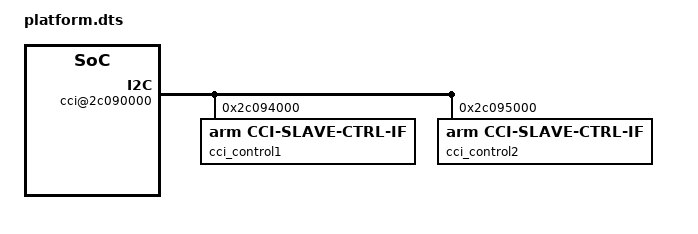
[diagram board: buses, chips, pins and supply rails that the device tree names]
/*
 * SPDX-License-Identifier: Apache-2.0
 * Copyright (c) 2019 KapaXL (kapa.xl@outlook.com)
 */

/dts-v1/;

#include "memory.dtsi"

#define GIC_SPI(x) ((x) + 32)
#define GIC_PPI(x) ((x))

/ {
	#address-cells = <2>;
	#size-cells = <2>;

	cpu {
		compatible = "arm,cpu";
		/* mpid of each CPU */
		cpus = <0 0x100 0x200 0x300 0x400 0x500 0x600 0x700>;
	};

	platform {
		#address-cells = <2>;
		#size-cells = <1>;

		/*
		 * pinctrls cells information
		 * 0: reg offset,
		 * 1: first bit position,
		 * 2: number of bits,
		 * 3: value
		 */
		pinctrl@0 {
			/* unnecessary for FVP */
			compatible = "module,pinctrl";
			reg = <0 0 0>;
			pinctrls = <0 0 0>;
		};

		cpu-power@1 {
			compatible = "module,cpu-power";
			/* base power controller */
			reg = <0 0x1c100000 0x1000>;
		};
	};

	uart {
		compatible = "module,uart";
		#address-cells = <2>;
		#size-cells = <1>;

		pl011@1c0a0000 {
			compatible = "arm,pl011";
			reg = <0 0x1c0a0000 0x1000>;
			interrupts = <GIC_SPI(6)>;
			interrupt-parent = <&gic>;
			clock-frequency = <24000000>;
			current-speed = <115200>;
			clock-divisor = <16>;
		};

		pl011@1c0b0000 {
			compatible = "arm,pl011";
			reg = <0 0x1c0b0000 0x1000>;
			interrupts = <GIC_SPI(7)>;
			interrupt-parent = <&gic>;
			clock-frequency = <24000000>;
			current-speed = <115200>;
			clock-divisor = <16>;
		};
	};

	/* interrupt-controller: CPU side */
	gic: interrupt-controller@2f000000 {
		compatible = "arm,gic-v3";

		interrupt-controller;

		#address-cells = <2>;
		#interrupt-cells = <1>;

		reg = <0 0x2f000000 0 0x10000>, /* GICD */
			<0 0x2f100000 0 0x300000>; /* GICR RD_Base / SGI_Base */
	};

	timer@2a430000 {
		compatible = "arm,armv8-timer";
		interrupts = <GIC_PPI(29)>; /* PPI 29 for SecureWorld tick_timer, 30 for REE */
		interrupt-parent = <&gic>;
		clock-frequency = <1000000000>;
		reg = <0 0x2a430000 0 0x1000>; /* system counter */
	};

	cci@2c090000 {
		compatible = "arm,cci-400";
		#address-cells = <1>;
		#size-cells = <1>;
		reg = <0 0x2c090000 0 0x10000>;

		cci_control1: slave-if@2c094000 {
			compatible = "arm,cci-slave-ctrl-if"; /* S3 */
			reg = <0x2c094000 0x1000>;
		};

		cci_control2: slave-if@2c095000 {
			compatible = "arm,cci-slave-ctrl-if"; /* S4 */
			reg = <0x2c095000 0x1000>;
		};

	};
/*
	cci@2a000000 {
		compatible = "arm,cci-500";
		#address-cells = <1>;
		#size-cells = <1>;
		reg = <0 0x2a000000 0 0x1000>;

		cci_control1: slave-if@2a006000 {
			compatible = "arm,cci-slave-ctrl-if"; // S5
			reg = <0x2a006000 0x1000>;
		};

		cci_control2: slave-if@2a007000 {
			compatible = "arm,cci-slave-ctrl-if"; // S6
			reg = <0x2a007000 0x1000>;
		};
	};
*/
};
